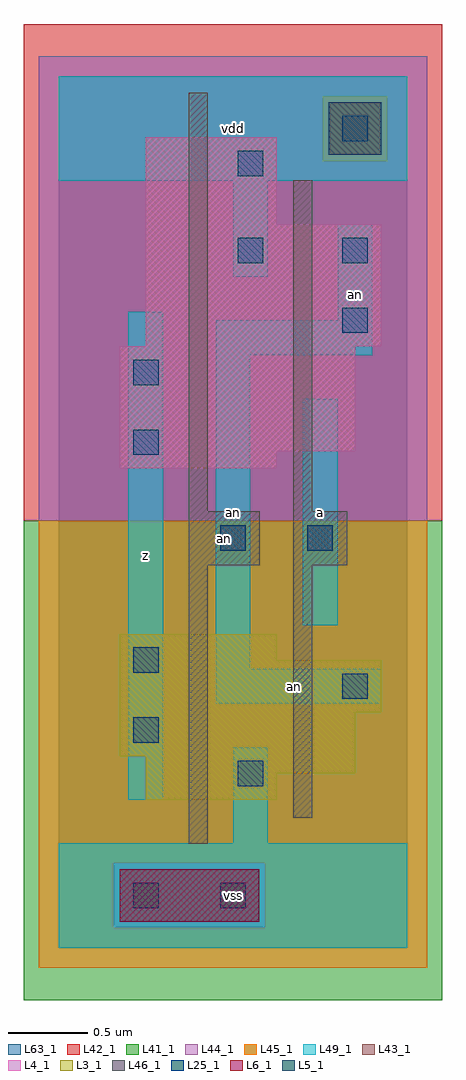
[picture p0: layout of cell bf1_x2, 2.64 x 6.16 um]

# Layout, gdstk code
import gdstk
lib = gdstk.Library(unit=1e-6, precision=1e-09)
def R(c, l, rs):  # rectangles x0, y0, x1, y1
    for r in rs: c.add(gdstk.rectangle(r[:2], r[2:], *l))
L3_1 = (3, 1)
L4_1 = (4, 1)
L5_1 = (5, 1)
L6_1 = (6, 1)
L25_1 = (25, 1)
L41_1 = (41, 1)
L42_1 = (42, 1)
L43_1 = (43, 1)
L44_1 = (44, 1)
L45_1 = (45, 1)
L46_1 = (46, 1)
L49_1 = (49, 1)
L63_1 = (63, 1)

bf1_x2 = lib.new_cell('bf1_x2')
R(bf1_x2, L3_1, [(0.55,0.935,1.375,1.1), (0.55,1.1,1.87,1.21), (0.385,1.21,1.87,1.485), (0.385,1.485,2.035,1.815), (0.385,1.815,1.375,1.98)])
R(bf1_x2, L4_1, [(0.385,3.025,1.375,3.135), (0.385,3.135,1.87,3.795), (0.55,3.795,2.035,4.565), (0.55,4.565,1.375,5.115)])
R(bf1_x2, L5_1, [(1.705,5.005,2.035,5.335)])
R(bf1_x2, L6_1, [(0.385,0.165,1.265,0.495)])
R(bf1_x2, L25_1, [(0.47,0.25,0.63,0.41), (1.02,0.25,1.18,0.41), (1.13,1.02,1.29,1.18), (0.47,1.295,0.63,1.455), (1.79,1.57,1.95,1.73), (0.47,1.735,0.63,1.895), (1.02,2.505,1.18,2.665), (1.57,2.505,1.73,2.665), (0.47,3.11,0.63,3.27), (0.47,3.55,0.63,3.71), (1.79,3.88,1.95,4.04), (1.13,4.32,1.29,4.48), (1.79,4.32,1.95,4.48), (1.13,4.87,1.29,5.03), (1.79,5.09,1.95,5.25)])
R(bf1_x2, L41_1, [(-0.22,-0.33,2.42,2.695)])
R(bf1_x2, L42_1, [(-0.22,2.695,2.42,5.83)])
R(bf1_x2, L43_1, [(0.385,0.165,1.265,0.495), (0.55,0.935,1.375,1.1), (0.55,1.1,1.87,1.21), (0.385,1.21,1.87,1.485), (0.385,1.485,2.035,1.815), (0.385,1.815,1.375,1.98), (0.385,3.025,1.375,3.135), (0.385,3.135,1.87,3.795), (0.55,3.795,2.035,4.565), (0.55,4.565,1.375,5.115), (1.705,5.005,2.035,5.335)])
R(bf1_x2, L44_1, [(0.345,0.125,1.305,0.535), (-0.125,2.695,2.325,4.965), (-0.125,4.965,1.665,5.375), (2.075,4.965,2.325,5.375), (-0.125,5.375,2.325,5.625)])
R(bf1_x2, L45_1, [(-0.125,-0.125,2.325,0.125), (-0.125,0.125,0.345,0.535), (1.305,0.125,2.325,0.535), (-0.125,0.535,2.325,2.695), (1.665,4.965,2.075,5.375)])
R(bf1_x2, L46_1, [(0.82,0.655,0.94,2.415), (1.48,0.82,1.6,2.415), (0.82,2.415,1.27,2.755), (1.48,2.415,1.82,2.755), (0.82,2.755,0.94,5.395), (1.48,2.755,1.6,4.845)])
R(bf1_x2, L49_1, [(0,0,2.2,0.66), (1.1,0.66,1.32,1.265), (0.44,0.935,0.66,4.015), (0.99,1.54,2.035,1.76), (0.99,1.76,1.21,3.74), (1.54,2.035,1.76,3.465), (0.99,3.74,1.98,3.96), (1.76,3.96,1.98,4.565), (1.1,4.235,1.32,4.84), (0,4.84,2.2,5.5)])
R(bf1_x2, L63_1, [(0,0,2.2,5.5)])
bf1_x2.add(gdstk.Label('an', (1.045,2.585), layer=49, texttype=1))
bf1_x2.add(gdstk.Label('z', (0.55,2.475), layer=49, texttype=1))
bf1_x2.add(gdstk.Label('z', (0.55,2.475), layer=49, texttype=1))
bf1_x2.add(gdstk.Label('vss', (1.1,0.33), layer=49, texttype=1))
bf1_x2.add(gdstk.Label('vss', (1.1,0.33), layer=49, texttype=1))
bf1_x2.add(gdstk.Label('an', (1.1,2.75), layer=49, texttype=1))
bf1_x2.add(gdstk.Label('vdd', (1.1,5.17), layer=49, texttype=1))
bf1_x2.add(gdstk.Label('vdd', (1.1,5.17), layer=49, texttype=1))
bf1_x2.add(gdstk.Label('an', (1.485,1.65), layer=49, texttype=1))
bf1_x2.add(gdstk.Label('a', (1.65,2.75), layer=49, texttype=1))
bf1_x2.add(gdstk.Label('a', (1.65,2.75), layer=49, texttype=1))
bf1_x2.add(gdstk.Label('an', (1.87,4.125), layer=49, texttype=1))

lib.write_gds('bf1_x2.gds')
